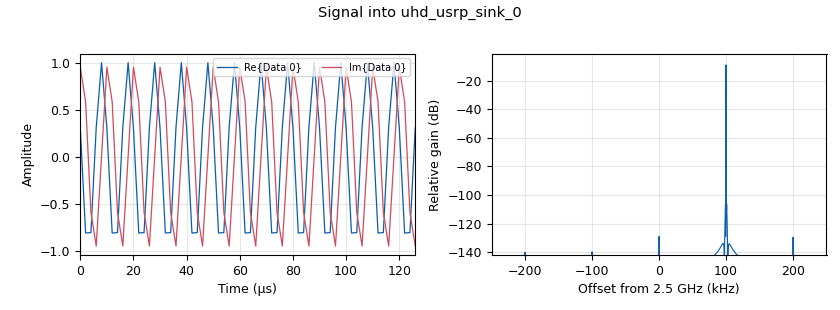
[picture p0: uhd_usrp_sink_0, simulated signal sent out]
<?xml version='1.0' encoding='utf-8'?>
<?grc format='1' created='3.7.10'?>
<flow_graph>
<block>
<key>options</key>
<param><key>id</key><value>top_block</value></param>
<param><key>generate_options</key><value>qt_gui</value></param>
</block>
<block>
<key>variable</key>
<param><key>id</key><value>samp_rate</value></param>
<param><key>value</key><value>500e3</value></param>
</block>
<block>
<key>analog_sig_source_x</key>
<param><key>id</key><value>analog_sig_source_x_0</value></param>
<param><key>amp</key><value>1</value></param>
<param><key>freq</key><value>100e3</value></param>
<param><key>offset</key><value>0</value></param>
<param><key>type</key><value>complex</value></param>
<param><key>samp_rate</key><value>samp_rate</value></param>
<param><key>waveform</key><value>analog.GR_COS_WAVE</value></param>
</block>
<block>
<key>qtgui_sink_x</key>
<param><key>id</key><value>qtgui_sink_x_0</value></param>
<param><key>bw</key><value>samp_rate</value></param>
<param><key>fc</key><value>0</value></param>
<param><key>freqchangevar</key><value>None</value></param>
<param><key>fftsize</key><value>1024</value></param>
<param><key>showports</key><value>True</value></param>
<param><key>type</key><value>complex</value></param>
<param><key>wintype</key><value>firdes.WIN_BLACKMAN_hARRIS</value></param>
</block>
<block>
<key>uhd_usrp_sink</key>
<param><key>id</key><value>uhd_usrp_sink_0</value></param>
<param><key>ant0</key><value>TX/RX</value></param>
<param><key>center_freq0</key><value>2.5e9</value></param>
<param><key>norm_gain0</key><value>False</value></param>
<param><key>gain0</key><value>50</value></param>
<param><key>clock_rate</key><value>0.0</value></param>
<param><key>dev_addr</key><value>"addr=192.168.10.2"</value></param>
<param><key>dev_args</key><value>""</value></param>
<param><key>type</key><value>fc32</value></param>
<param><key>sd_spec0</key><value>A:0</value></param>
<param><key>samp_rate</key><value>samp_rate</value></param>
<param><key>hide_cmd_port</key><value>False</value></param>
<param><key>hide_lo_controls</key><value>True</value></param>
<param><key>sync</key><value>pc_clock</value></param>
<param><key>len_tag_name</key><value></value></param>
</block>
<block>
<key>uhd_usrp_source</key>
<param><key>id</key><value>uhd_usrp_source_0</value></param>
<param><key>ant0</key><value>RX2</value></param>
<param><key>center_freq0</key><value>2.5e9</value></param>
<param><key>dc_offs_enb0</key><value>""</value></param>
<param><key>iq_imbal_enb0</key><value>""</value></param>
<param><key>norm_gain0</key><value>False</value></param>
<param><key>gain0</key><value>50</value></param>
<param><key>clock_rate</key><value>0.0</value></param>
<param><key>dev_addr</key><value>"addr=192.168.10.2"</value></param>
<param><key>dev_args</key><value>""</value></param>
<param><key>sd_spec0</key><value>B:0</value></param>
<param><key>type</key><value>fc32</value></param>
<param><key>samp_rate</key><value>samp_rate</value></param>
<param><key>hide_cmd_port</key><value>False</value></param>
<param><key>hide_lo_controls</key><value>True</value></param>
<param><key>sync</key><value>pc_clock</value></param>
</block>
<connection><source_block_id>analog_sig_source_x_0</source_block_id><sink_block_id>uhd_usrp_sink_0</sink_block_id><source_key>0</source_key><sink_key>0</sink_key></connection>
<connection><source_block_id>uhd_usrp_source_0</source_block_id><sink_block_id>qtgui_sink_x_0</sink_block_id><source_key>0</source_key><sink_key>0</sink_key></connection>
</flow_graph>
